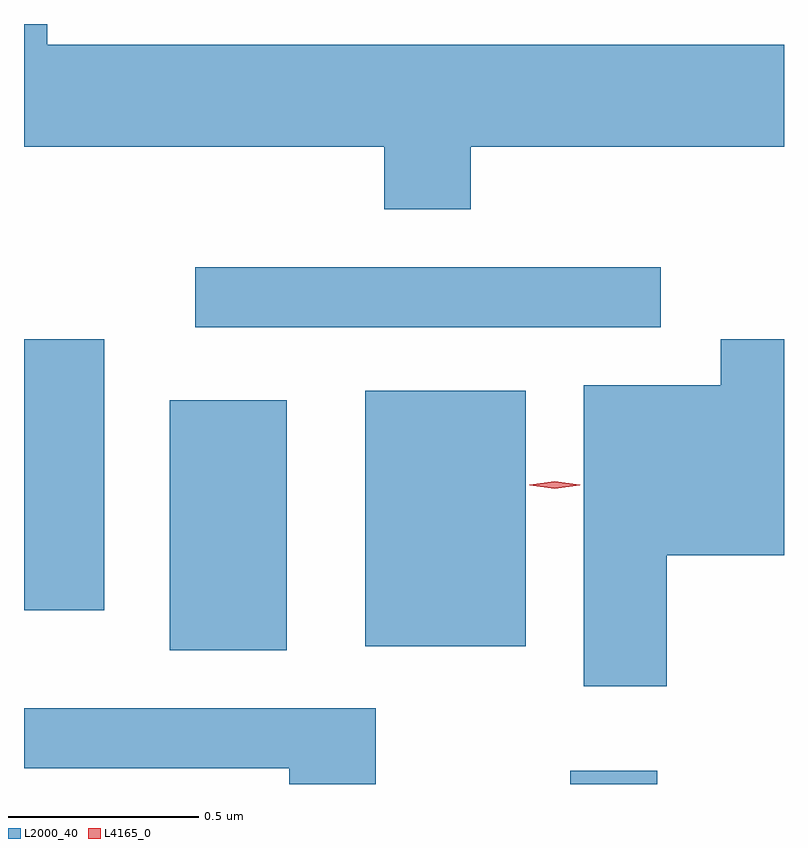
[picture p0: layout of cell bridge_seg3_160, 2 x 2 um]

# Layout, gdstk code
import gdstk
lib = gdstk.Library(unit=1e-6, precision=1e-09)
def R(c, l, rs):  # rectangles x0, y0, x1, y1
    for r in rs: c.add(gdstk.rectangle(r[:2], r[2:], *l))
def P(c, l, *ps):  # polygons
    for p in ps: c.add(gdstk.Polygon(p, *l))
L2000_40 = (2000, 40)
L4165_0 = (4165, 0)

bridge_seg3_160 = lib.new_cell('bridge_seg3_160')
R(bridge_seg3_160, L2000_40, [(776.161,1235.339,776.389,1235.374), (775.106,1235.691,775.414,1236.349), (775.621,1235.701,776.044,1236.374), (774.723,1235.796,774.934,1236.509), (775.173,1236.541,776.398,1236.699)])
P(bridge_seg3_160, L2000_40, [(775.899,1237.016),(776.723,1237.016),(776.723,1237.284),(774.784,1237.284),(774.784,1237.339),(774.723,1237.339),(774.723,1237.016),(775.671,1237.016),(775.671,1236.851),(775.899,1236.851)],
  [(776.414,1235.941),(776.723,1235.941),(776.723,1236.509),(776.556,1236.509),(776.556,1236.389),(776.196,1236.389),(776.196,1235.596),(776.414,1235.596)],
  [(775.649,1235.539),(774.723,1235.539),(774.723,1235.381),(775.421,1235.381),(775.421,1235.339),(775.649,1235.339)])
P(bridge_seg3_160, L4165_0, [(776.12,1236.116),(776.054,1236.125),(776.053,1236.126),(776.054,1236.126),(776.12,1236.136),(776.186,1236.126),(776.187,1236.126),(776.186,1236.125)])

lib.write_gds('bridge_seg3_160.gds')
